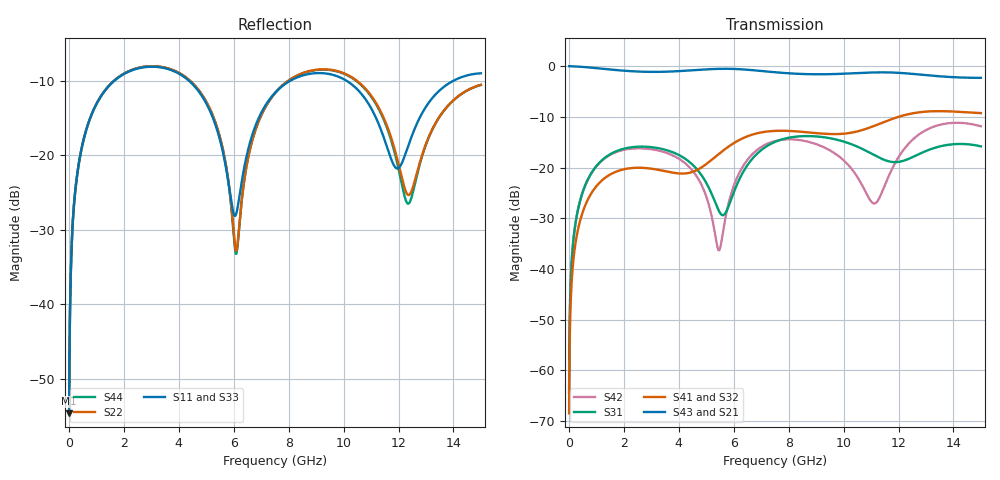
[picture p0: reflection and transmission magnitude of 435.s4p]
! Created with skrf 1.8.0 (http://scikit-rf.org).
# GHz S RI R 50.0
!freq ReS11 ImS11 ReS12 ImS12 ReS13 ImS13
! ReS14 ImS14
! ReS21 ImS21 ReS22 ImS22 ReS23 ImS23
! ReS24 ImS24
! ReS31 ImS31 ReS32 ImS32 ReS33 ImS33
! ReS34 ImS34
! ReS41 ImS41 ReS42 ImS42 ReS43 ImS43
! ReS44 ImS44
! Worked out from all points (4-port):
!   2499 points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, 5 MHz to 15 GHz, reference 50 ohm
!   strongest paths, dB at 5 MHz, 3.476 GHz, 7.19 GHz, 11.1 GHz, 15 GHz:
!     S43: 0.0, -1.1, -1.1, -1.3, -2.3
!     S21: 0.0, -1.1, -1.1, -1.3, -2.3
!     S41: -68.4, -20.7, -12.9, -11.8, -9.3
!     S32: -68.4, -20.7, -12.9, -11.8, -9.3
!     S31: -64.4, -16.4, -15.8, -17.5, -15.8
!     S42: -64.4, -17.0, -15.4, -27.1, -11.9
!   lowest |S11| = -54.6 dB at 5 MHz (marker M1), VSWR 1.00, Z = 50.1 + j0.113 ohm
!   |S11| at or under -10 dB: start of sweep to 1.658 GHz; 4.361 GHz to 8.069 GHz (3.707 GHz wide, 59.7 % of centre); 10.1 GHz to 14.01 GHz (3.913 GHz wide, 32.5 % of centre)
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0.005  0.00148 0.00112  0.9985 -0.00289  7.43e-05 0.000595  -7.2e-05 -0.000371
       0.9985 -0.00289  0.00148 0.00112  -7.2e-05 -0.000371  7.41e-05 0.000595
       7.43e-05 0.000595  -7.2e-05 -0.000371  0.00148 0.00113  0.9985 -0.00289
       -7.2e-05 -0.000371  7.41e-05 0.000595  0.9985 -0.00289  0.00148 0.00113
0.3126303  0.0202 0.0746  0.9724 -0.1801  0.00955 0.0356  -0.00769 -0.0222
           0.9724 -0.1801  0.0203 0.0746  -0.00769 -0.0222  0.00894 0.0358
           0.00955 0.0356  -0.00769 -0.0222  0.0202 0.0746  0.9724 -0.1801
           -0.00769 -0.0222  0.00894 0.0358  0.9724 -0.1801  0.0203 0.0746
1.569404  0.2412 0.1878  0.6066 -0.694  0.1229 0.0643  -0.086 -0.0155
          0.6066 -0.694  0.2439 0.1863  -0.086 -0.0155  0.1143 0.0743
          0.1229 0.0643  -0.086 -0.0155  0.2412 0.1878  0.6067 -0.694
          -0.086 -0.0155  0.1143 0.0743  0.6067 -0.694  0.2438 0.1863
5.877449  0.0409 -0.0352  -0.9265 -0.1562  -0.028 0.0369  -0.0248 0.1638
          -0.9265 -0.1562  0.0251 -0.0461  -0.0251 0.1637  0.0155 0.0495
          -0.028 0.0369  -0.0251 0.1637  0.0415 -0.0341  -0.9265 -0.1562
          -0.0248 0.1638  0.0155 0.0495  -0.9265 -0.1562  0.0241 -0.0453
9.460192  0.3481 -0.0398  0.0258 0.8313  0.1382 -0.1384  0.202 -0.0716
          0.0258 0.8313  0.3709 -0.054  0.2019 -0.0707  0.1452 -0.0374
          0.1382 -0.1384  0.2019 -0.0707  0.3467 -0.0396  0.0248 0.8321
          0.202 -0.0716  0.1452 -0.0374  0.0248 0.8321  0.369 -0.0531
12.3489  0.097 0.061  0.845 0.0381  -0.0706 0.0986  0.00405 -0.3353
         0.845 0.0381  0.0529 -0.0115  0.00487 -0.334  0.1106 0.1283
         -0.0706 0.0986  0.00487 -0.334  0.1024 0.0654  0.8448 0.0389
         0.00405 -0.3353  0.1106 0.1283  0.8448 0.0389  0.0467 -0.00712
15  0.3537 0.00585  0.2541 -0.7239  0.1589 -0.0303  -0.3417 -0.0405
    0.2541 -0.7239  0.2928 0.0449  -0.3382 -0.0435  0.2271 -0.1163
    0.1589 -0.0303  -0.3382 -0.0435  0.3593 -0.00298  0.2577 -0.7217
    -0.3417 -0.0405  0.2271 -0.1163  0.2577 -0.7217  0.2896 0.0589
